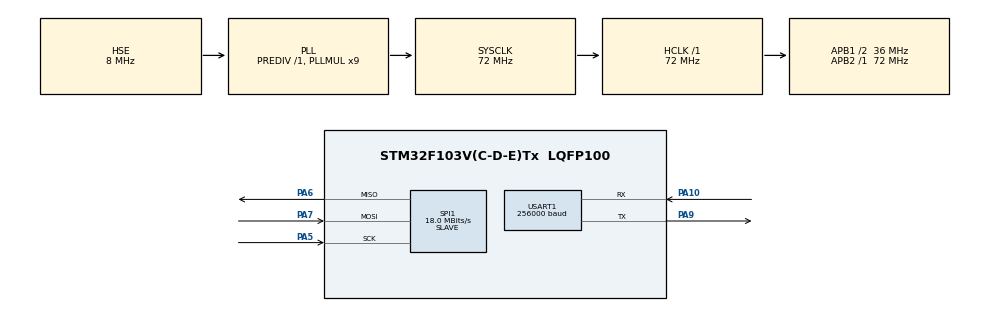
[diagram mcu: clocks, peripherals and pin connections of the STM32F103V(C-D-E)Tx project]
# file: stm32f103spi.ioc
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Dma.Request0=SPI1_RX
Dma.Request1=SPI1_TX
Dma.SPI1_RX.0.Direction=DMA_PERIPH_TO_MEMORY
Dma.SPI1_RX.0.Instance=DMA1_Channel2
Dma.SPI1_RX.0.MemDataAlignment=DMA_MDATAALIGN_BYTE
Dma.SPI1_RX.0.MemInc=DMA_MINC_ENABLE
Dma.SPI1_RX.0.Mode=DMA_NORMAL
Dma.SPI1_RX.0.PeriphDataAlignment=DMA_PDATAALIGN_BYTE
Dma.SPI1_RX.0.PeriphInc=DMA_PINC_DISABLE
Dma.SPI1_RX.0.Priority=DMA_PRIORITY_LOW
Dma.SPI1_TX.1.Direction=DMA_MEMORY_TO_PERIPH
Dma.SPI1_TX.1.Instance=DMA1_Channel3
Dma.SPI1_TX.1.MemDataAlignment=DMA_MDATAALIGN_BYTE
Dma.SPI1_TX.1.MemInc=DMA_MINC_ENABLE
Dma.SPI1_TX.1.Mode=DMA_NORMAL
Dma.SPI1_TX.1.PeriphDataAlignment=DMA_PDATAALIGN_BYTE
Dma.SPI1_TX.1.PeriphInc=DMA_PINC_DISABLE
Dma.SPI1_TX.1.Priority=DMA_PRIORITY_LOW
Mcu.Family=STM32F1
Mcu.Name=STM32F103V(C-D-E)Tx
Mcu.Package=LQFP100
NVIC.DMA1_Channel2_IRQn=true\:0\:0\:false\:false\:true\:false\:true
NVIC.DMA1_Channel3_IRQn=true\:0\:0\:false\:false\:true\:false\:true
NVIC.PriorityGroup=NVIC_PRIORITYGROUP_4
NVIC.SPI1_IRQn=true\:0\:0\:false\:false\:true\:true\:true
OSC_IN.Mode=HSE-External-Oscillator
OSC_IN.Signal=RCC_OSC_IN
OSC_OUT.Mode=HSE-External-Oscillator
OSC_OUT.Signal=RCC_OSC_OUT
PA10.Mode=Asynchronous
PA10.Signal=USART1_RX
PA13.Mode=Serial_Wire
PA13.Signal=SYS_JTMS-SWDIO
PA14.Mode=Serial_Wire
PA14.Signal=SYS_JTCK-SWCLK
PA5.Mode=Full_Duplex_Slave
PA5.Signal=SPI1_SCK
PA6.Mode=Full_Duplex_Slave
PA6.Signal=SPI1_MISO
PA7.Mode=Full_Duplex_Slave
PA7.Signal=SPI1_MOSI
PA9.Mode=Asynchronous
PA9.Signal=USART1_TX
ProjectManager.HeapSize=0x200
ProjectManager.StackSize=0x400
ProjectManager.TargetToolchain=MDK-ARM V5
RCC.AHBFreq_Value=72000000
RCC.APB1CLKDivider=RCC_HCLK_DIV2
RCC.APB1Freq_Value=36000000
RCC.APB1TimFreq_Value=72000000
RCC.APB2Freq_Value=72000000
RCC.APB2TimFreq_Value=72000000
RCC.HCLKFreq_Value=72000000
RCC.PLLMUL=RCC_PLL_MUL9
RCC.PLLSourceVirtual=RCC_PLLSOURCE_HSE
RCC.SYSCLKFreq_VALUE=72000000
RCC.SYSCLKSource=RCC_SYSCLKSOURCE_PLLCLK
RCC.USBFreq_Value=72000000
SPI1.BaudRatePrescaler=SPI_BAUDRATEPRESCALER_4
SPI1.CalculateBaudRate=18.0 MBits/s
SPI1.Direction=SPI_DIRECTION_2LINES
SPI1.Mode=SPI_MODE_SLAVE
SPI1.VirtualType=VM_SLAVE
USART1.BaudRate=256000
USART1.VirtualMode=VM_ASYNC
board=custom

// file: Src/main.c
/* USER CODE BEGIN Header */
/**
  ******************************************************************************
  * @file           : main.c
  * @brief          : Main program body
  ******************************************************************************
  * @attention
  *
  * <h2><center>&copy; Copyright (c) 2021 STMicroelectronics.
  * All rights reserved.</center></h2>
  *
  * This software component is licensed by ST under BSD 3-Clause license,
  * the "License"; You may not use this file except in compliance with the
  * License. You may obtain a copy of the License at:
  *                        opensource.org/licenses/BSD-3-Clause
  *
  ******************************************************************************
  */
/* USER CODE END Header */

#include "main.h"

SPI_HandleTypeDef hspi1;
DMA_HandleTypeDef hdma_spi1_rx;
DMA_HandleTypeDef hdma_spi1_tx;

UART_HandleTypeDef huart1;

void SystemClock_Config(void);
static void MX_GPIO_Init(void);
static void MX_DMA_Init(void);
static void MX_SPI1_Init(void);
static void MX_USART1_UART_Init(void);

/* USER CODE BEGIN 0 */
#include <stdio.h>
int fputc(int ch, FILE *f)
{
  HAL_UART_Transmit(&huart1, (uint8_t *)&ch, 1, 0xffff);
  return ch;
}

int fgetc(FILE *f)
{
  uint8_t ch = 0;
  HAL_UART_Receive(&huart1, &ch, 1, 0xffff);
  return ch;
}

void HAL_SPI_TxRxCpltCallback(SPI_HandleTypeDef *hspi){
		//printf("rx complete\r\n");
}

void spiRxCallback(DMA_HandleTypeDef* i){
	//printf("xxxxx\r\n");
}

/* USER CODE END 0 */

int main(void)
{

  /* MCU Configuration--------------------------------------------------------*/

  /* Reset of all peripherals, Initializes the Flash interface and the Systick. */
  HAL_Init();

  /* Configure the system clock */
  SystemClock_Config();

  /* Initialize all configured peripherals */
  MX_GPIO_Init();
  MX_DMA_Init();
  MX_SPI1_Init();
  MX_USART1_UART_Init();
  /* USER CODE BEGIN 2 */
	//SPI1_init_IT();
  /* USER CODE END 2 */

  /* Infinite loop */
  /* USER CODE BEGIN WHILE */
	printf("start \r\n");
	uint8_t pData[4] = {0x00, 0x00, 0x00,0x00};
	static uint8_t cmd[4] = {0x00,0x01,0x02,0x03};
  while (1)
  {

		cmd[0] += 1;
		//if (HAL_SPI_TransmitReceive(&hspi1, cmd, pData,4,1) == HAL_OK){
		if (HAL_SPI_TransmitReceive_DMA(&hspi1, cmd, pData,4) == HAL_OK){
				if(pData[0] == 0x00 && pData[1] == 0x01 && pData[2] == 0x02){
					printf("0x%02x, 0x%02x, 0x%02x, 0x%02x\r\n", pData[0],pData[1],pData[2],pData[3]);
				}
		}
		//HAL_Delay(1);
    /* USER CODE END WHILE */

  }
}

void SystemClock_Config(void)
{
  RCC_OscInitTypeDef RCC_OscInitStruct = {0};
  RCC_ClkInitTypeDef RCC_ClkInitStruct = {0};

  /** Initializes the CPU, AHB and APB busses clocks
  */
  RCC_OscInitStruct.OscillatorType = RCC_OSCILLATORTYPE_HSE;
  RCC_OscInitStruct.HSEState = RCC_HSE_ON;
  RCC_OscInitStruct.HSEPredivValue = RCC_HSE_PREDIV_DIV1;
  RCC_OscInitStruct.HSIState = RCC_HSI_ON;
  RCC_OscInitStruct.PLL.PLLState = RCC_PLL_ON;
  RCC_OscInitStruct.PLL.PLLSource = RCC_PLLSOURCE_HSE;
  RCC_OscInitStruct.PLL.PLLMUL = RCC_PLL_MUL9;
  if (HAL_RCC_OscConfig(&RCC_OscInitStruct) != HAL_OK)
  {
    Error_Handler();
  }
  /** Initializes the CPU, AHB and APB busses clocks
  */
  RCC_ClkInitStruct.ClockType = RCC_CLOCKTYPE_HCLK|RCC_CLOCKTYPE_SYSCLK
                              |RCC_CLOCKTYPE_PCLK1|RCC_CLOCKTYPE_PCLK2;
  RCC_ClkInitStruct.SYSCLKSource = RCC_SYSCLKSOURCE_PLLCLK;
  RCC_ClkInitStruct.AHBCLKDivider = RCC_SYSCLK_DIV1;
  RCC_ClkInitStruct.APB1CLKDivider = RCC_HCLK_DIV2;
  RCC_ClkInitStruct.APB2CLKDivider = RCC_HCLK_DIV1;

  if (HAL_RCC_ClockConfig(&RCC_ClkInitStruct, FLASH_LATENCY_2) != HAL_OK)
  {
    Error_Handler();
  }
}

static void MX_SPI1_Init(void)
{

  /* SPI1 parameter configuration*/
  hspi1.Instance = SPI1;
  hspi1.Init.Mode = SPI_MODE_SLAVE;
  hspi1.Init.Direction = SPI_DIRECTION_2LINES;
  hspi1.Init.DataSize = SPI_DATASIZE_8BIT;
  hspi1.Init.CLKPolarity = SPI_POLARITY_LOW;
  hspi1.Init.CLKPhase = SPI_PHASE_1EDGE;
  hspi1.Init.NSS = SPI_NSS_SOFT;
  hspi1.Init.BaudRatePrescaler = SPI_BAUDRATEPRESCALER_4;
  hspi1.Init.FirstBit = SPI_FIRSTBIT_MSB;
  hspi1.Init.TIMode = SPI_TIMODE_DISABLE;
  hspi1.Init.CRCCalculation = SPI_CRCCALCULATION_DISABLE;
  hspi1.Init.CRCPolynomial = 10;
  if (HAL_SPI_Init(&hspi1) != HAL_OK)
  {
    Error_Handler();
  }

}

static void MX_USART1_UART_Init(void)
{

  huart1.Instance = USART1;
  huart1.Init.BaudRate = 256000;
  huart1.Init.WordLength = UART_WORDLENGTH_8B;
  huart1.Init.StopBits = UART_STOPBITS_1;
  huart1.Init.Parity = UART_PARITY_NONE;
  huart1.Init.Mode = UART_MODE_TX_RX;
  huart1.Init.HwFlowCtl = UART_HWCONTROL_NONE;
  huart1.Init.OverSampling = UART_OVERSAMPLING_16;
  if (HAL_UART_Init(&huart1) != HAL_OK)
  {
    Error_Handler();
  }

}

static void MX_DMA_Init(void)
{

  /* DMA controller clock enable */
  __HAL_RCC_DMA1_CLK_ENABLE();

  /* DMA interrupt init */
  /* DMA1_Channel2_IRQn interrupt configuration */
  HAL_NVIC_SetPriority(DMA1_Channel2_IRQn, 0, 0);
  HAL_NVIC_EnableIRQ(DMA1_Channel2_IRQn);
  /* DMA1_Channel3_IRQn interrupt configuration */
  HAL_NVIC_SetPriority(DMA1_Channel3_IRQn, 0, 0);
  HAL_NVIC_EnableIRQ(DMA1_Channel3_IRQn);

}

static void MX_GPIO_Init(void)
{

  /* GPIO Ports Clock Enable */
  __HAL_RCC_GPIOA_CLK_ENABLE();

}

void Error_Handler(void)
{
}

/************************ (C) COPYRIGHT STMicroelectronics *****END OF FILE****/
